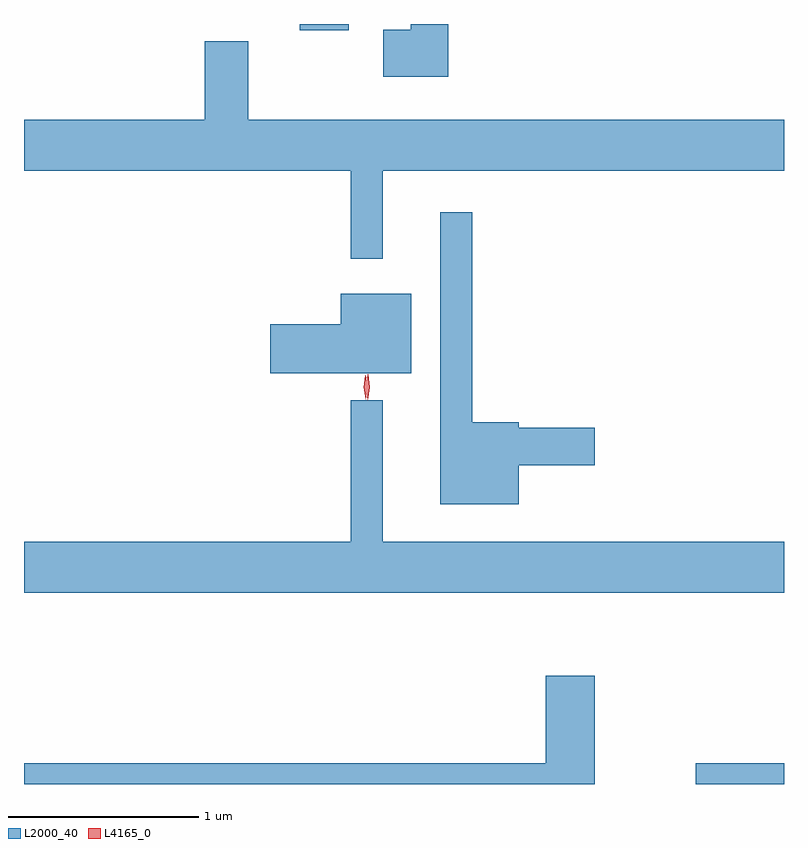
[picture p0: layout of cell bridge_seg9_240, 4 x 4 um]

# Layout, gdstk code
import gdstk
lib = gdstk.Library(unit=1e-6, precision=1e-09)
def R(c, l, rs):  # rectangles x0, y0, x1, y1
    for r in rs: c.add(gdstk.rectangle(r[:2], r[2:], *l))
def P(c, l, *ps):  # polygons
    for p in ps: c.add(gdstk.Polygon(p, *l))
L2000_40 = (2000, 40)
L4165_0 = (4165, 0)

bridge_seg9_240 = lib.new_cell('bridge_seg9_240')
R(bridge_seg9_240, L2000_40, [(1339.006,1948.629,1339.47,1948.739), (1336.921,1952.596,1337.179,1952.629)])
P(bridge_seg9_240, L2000_40, [(1337.704,1952.629),(1337.506,1952.629),(1337.506,1952.599),(1337.361,1952.599),(1337.361,1952.351),(1337.704,1952.351)],
  [(1337.359,1951.856),(1339.47,1951.856),(1339.47,1952.124),(1336.649,1952.124),(1336.649,1952.539),(1336.421,1952.539),(1336.421,1952.124),(1335.47,1952.124),(1335.47,1951.856),(1337.191,1951.856),(1337.191,1951.393),(1337.359,1951.393)],
  [(1338.074,1950.306),(1338.474,1950.306),(1338.474,1950.504),(1338.074,1950.504),(1338.074,1950.534),(1337.829,1950.534),(1337.829,1951.638),(1337.661,1951.638),(1337.661,1950.101),(1338.074,1950.101)],
  [(1337.509,1951.209),(1337.136,1951.209),(1337.136,1951.049),(1336.766,1951.049),(1336.766,1950.791),(1337.509,1950.791)],
  [(1339.47,1949.904),(1337.359,1949.904),(1337.359,1950.648),(1337.191,1950.648),(1337.191,1949.904),(1335.47,1949.904),(1335.47,1949.636),(1339.47,1949.636)],
  [(1338.474,1949.199),(1338.216,1949.199),(1338.216,1948.739),(1335.47,1948.739),(1335.47,1948.629),(1338.474,1948.629)])
P(bridge_seg9_240, L4165_0, [(1337.278,1950.65),(1337.27,1950.718),(1337.28,1950.785),(1337.28,1950.786),(1337.281,1950.785),(1337.29,1950.718),(1337.28,1950.65),(1337.279,1950.65)],
  [(1337.269,1950.653),(1337.268,1950.654),(1337.258,1950.716),(1337.267,1950.779),(1337.267,1950.78),(1337.268,1950.779),(1337.278,1950.716),(1337.269,1950.654)])

lib.write_gds('bridge_seg9_240.gds')
